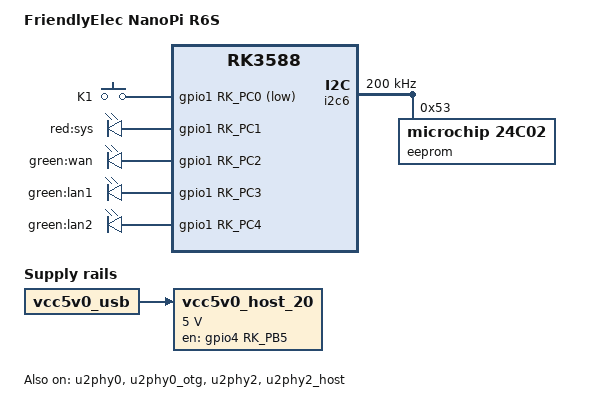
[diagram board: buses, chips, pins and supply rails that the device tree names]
// SPDX-License-Identifier: (GPL-2.0+ OR MIT)
/*
 * Copyright (c) 2022 FriendlyElec Computer Tech. Co., Ltd.
 * (http://www.friendlyelec.com)
 *
 * Copyright (c) 2021 Rockchip Electronics Co., Ltd.
 */

/dts-v1/;

#include "rk3588-nanopi6-common.dtsi"

/ {
	model = "FriendlyElec NanoPi R6S";
	compatible = "friendlyelec,nanopi-r6s", "rockchip,rk3588";

	aliases {
		led-boot = &sys_led;
		led-failsafe = &sys_led;
		led-running = &sys_led;
		led-upgrade = &sys_led;
		ethernet0 = &r8125_u25;
	};

	gpio_keys: gpio-keys {
		compatible = "gpio-keys";
		pinctrl-names = "default";
		pinctrl-0 = <&key1_pin>;

		button@1 {
			debounce-interval = <50>;
			gpios = <&gpio1 RK_PC0 GPIO_ACTIVE_LOW>;
			label = "K1";
			linux,code = <BTN_1>;
			wakeup-source;
		};
	};

	gpio_leds: gpio-leds {
		compatible = "gpio-leds";

		sys_led: led-0 {
			gpios = <&gpio1 RK_PC1 GPIO_ACTIVE_HIGH>;
			label = "red:sys";
			linux,default-trigger = "heartbeat";
			pinctrl-names = "default";
			pinctrl-0 = <&sys_led_pin>;
		};

		wan_led: led-1 {
			gpios = <&gpio1 RK_PC2 GPIO_ACTIVE_HIGH>;
			label = "green:wan";
			pinctrl-names = "default";
			pinctrl-0 = <&wan_led_pin>;
		};

		lan1_led: led-2 {
			gpios = <&gpio1 RK_PC3 GPIO_ACTIVE_HIGH>;
			label = "green:lan1";
			pinctrl-names = "default";
			pinctrl-0 = <&lan1_led_pin>;
		};

		lan2_led: led-3 {
			gpios = <&gpio1 RK_PC4 GPIO_ACTIVE_HIGH>;
			label = "green:lan2";
			pinctrl-names = "default";
			pinctrl-0 = <&lan2_led_pin>;
		};
	};

	vcc5v0_host_20: vcc5v0-host-20 {
		compatible = "regulator-fixed";
		enable-active-high;
		gpio = <&gpio4 RK_PB5 GPIO_ACTIVE_HIGH>;
		pinctrl-names = "default";
		pinctrl-0 = <&vcc5v0_host20_en>;
		regulator-name = "vcc5v0_host_20";
		regulator-min-microvolt = <5000000>;
		regulator-max-microvolt = <5000000>;
		vin-supply = <&vcc5v0_usb>;
	};
};

&mach {
	hwrev = <2>;
	model = "NanoPi R6S";
};

&pcie2x1l1 {
	pcie@30 {
		reg = <0x00300000 0 0 0 0>;
		#address-cells = <3>;
		#size-cells = <2>;

		r8125_u25: pcie@30,0 {
			reg = <0x000000 0 0 0 0>;
			local-mac-address = [ 00 00 00 00 00 00 ];
			label = "eth2";
		};
	};
};

&pcie2x1l2 {
	pcie@40 {
		reg = <0x00400000 0 0 0 0>;
		#address-cells = <3>;
		#size-cells = <2>;

		r8125_u40: pcie@40,0 {
			reg = <0x000000 0 0 0 0>;
			local-mac-address = [ 00 00 00 00 00 00 ];
			label = "eth1";
		};
	};
};

&pinctrl {
	gpio-key {
		key1_pin: key1-pin {
			rockchip,pins = <1 RK_PC0 RK_FUNC_GPIO &pcfg_pull_up>;
		};
	};

	gpio-leds {
		sys_led_pin: sys-led-pin {
			rockchip,pins =
				<1 RK_PC1 RK_FUNC_GPIO &pcfg_pull_none>;
		};

		wan_led_pin: wan-led-pin {
			rockchip,pins =
				<1 RK_PC2 RK_FUNC_GPIO &pcfg_pull_none>;
		};

		lan1_led_pin: lan1-led-pin {
			rockchip,pins =
				<1 RK_PC3 RK_FUNC_GPIO &pcfg_pull_none>;
		};

		lan2_led_pin: lan2-led-pin {
			rockchip,pins =
				<1 RK_PC4 RK_FUNC_GPIO &pcfg_pull_none>;
		};
	};

	usb {
		vcc5v0_host20_en: vcc5v0-host20-en {
			rockchip,pins = <4 RK_PB5 RK_FUNC_GPIO &pcfg_pull_none>;
		};
	};
};

&i2c6 {
	clock-frequency = <200000>;
	status = "okay";

	eeprom@53 {
		compatible = "microchip,24c02", "atmel,24c02";
		reg = <0x53>;
		#address-cells = <2>;
		#size-cells = <0>;
		pagesize = <16>;
		size = <256>;

		eui_48: eui-48@fa {
			reg = <0xfa 0x06>;
		};
	};
};

&u2phy0 {
	status = "okay";
};

&u2phy0_otg {
	phy-supply = <&vbus5v0_typec>;
	status = "okay";
};

&u2phy2 {
	status = "okay";
};

&u2phy2_host {
	phy-supply = <&vcc5v0_host_20>;
	status = "okay";
};

&vp0 {
	cursor-win-id = <ROCKCHIP_VOP2_CLUSTER0>;
};

&vp2 {
	/delete-property/ rockchip,plane-mask;
	/delete-property/ rockchip,primary-plane;
	status = "disabled";
};

&vp3 {
	/delete-property/ rockchip,plane-mask;
	/delete-property/ rockchip,primary-plane;
	status = "disabled";
};
